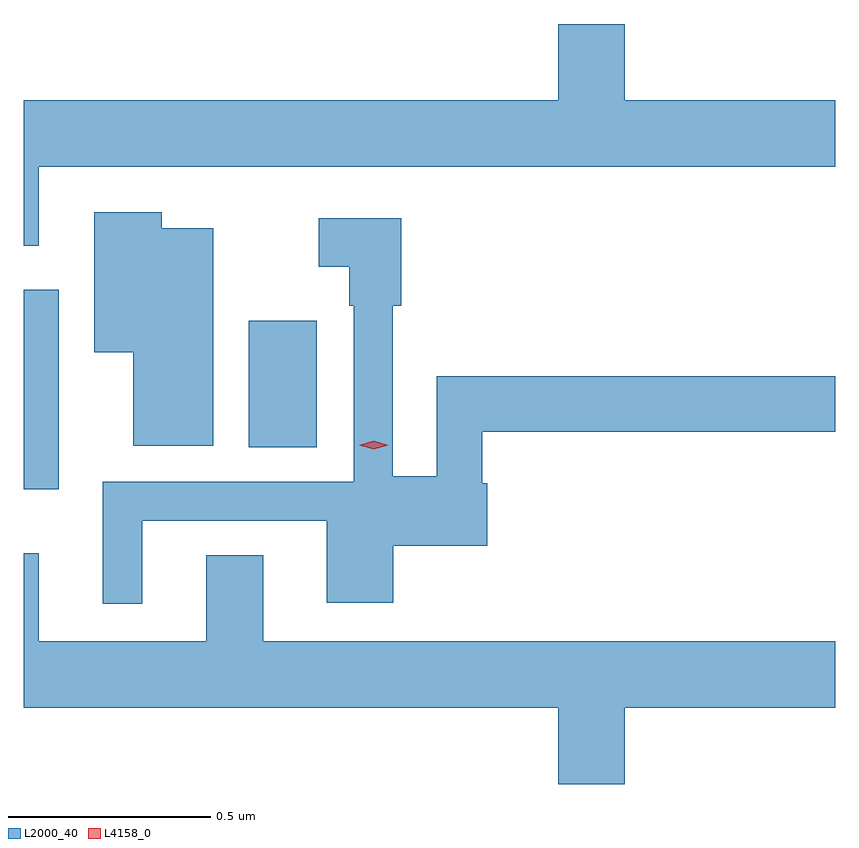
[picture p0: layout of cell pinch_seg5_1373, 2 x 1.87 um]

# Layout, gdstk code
import gdstk
lib = gdstk.Library(unit=1e-6, precision=1e-09)
def R(c, l, rs):  # rectangles x0, y0, x1, y1
    for r in rs: c.add(gdstk.rectangle(r[:2], r[2:], *l))
def P(c, l, *ps):  # polygons
    for p in ps: c.add(gdstk.Polygon(p, *l))
L2000_40 = (2000, 40)
L4158_0 = (4158, 0)

pinch_seg5_1373 = lib.new_cell('pinch_seg5_1373')
R(pinch_seg5_1373, L2000_40, [(355.499,883.938,355.586,884.43), (356.054,884.041,356.221,884.353)])
P(pinch_seg5_1373, L2000_40, [(355.537,884.732),(357.499,884.732),(357.499,884.896),(356.98,884.896),(356.98,885.084),(356.816,885.084),(356.816,884.896),(355.499,884.896),(355.499,884.538),(355.537,884.538)],
  [(355.966,884.581),(355.839,884.581),(355.839,884.62),(355.673,884.62),(355.673,884.276),(355.769,884.276),(355.769,884.045),(355.966,884.045)],
  [(355.792,883.86),(356.246,883.86),(356.246,883.659),(356.41,883.659),(356.41,883.799),(356.641,883.799),(356.641,883.953),(356.629,883.953),(356.629,884.08),(357.499,884.08),(357.499,884.216),(356.517,884.216),(356.517,883.97),(356.409,883.97),(356.409,884.39),(356.429,884.39),(356.429,884.605),(356.226,884.605),(356.226,884.486),(356.301,884.486),(356.301,884.39),(356.313,884.39),(356.313,883.956),(355.694,883.956),(355.694,883.656),(355.792,883.656)],
  [(356.98,883.4),(357.499,883.4),(357.499,883.564),(356.089,883.564),(356.089,883.775),(355.949,883.775),(355.949,883.564),(355.537,883.564),(355.537,883.78),(355.499,883.78),(355.499,883.4),(356.816,883.4),(356.816,883.212),(356.98,883.212)])
P(pinch_seg5_1373, L4158_0, [(356.362,884.037),(356.326,884.046),(356.326,884.046),(356.326,884.046),(356.362,884.057),(356.398,884.047),(356.398,884.047),(356.398,884.047)])

lib.write_gds('pinch_seg5_1373.gds')
